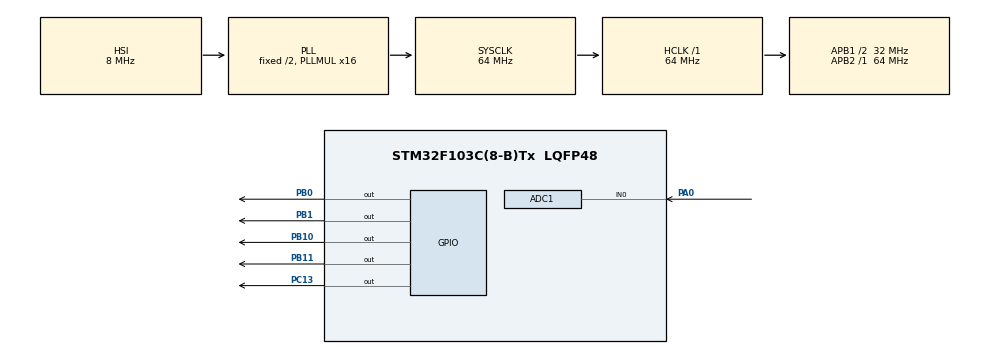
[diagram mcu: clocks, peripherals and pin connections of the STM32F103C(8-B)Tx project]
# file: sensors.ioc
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ADC1.Channel-1\#ChannelRegularConversion=ADC_CHANNEL_0
ADC1.NbrOfConversionFlag=1
ADC1.Rank-1\#ChannelRegularConversion=1
ADC1.SamplingTime-1\#ChannelRegularConversion=ADC_SAMPLETIME_1CYCLE_5
ADC1.master=1
Mcu.Family=STM32F1
Mcu.Name=STM32F103C(8-B)Tx
Mcu.Package=LQFP48
NVIC.PriorityGroup=NVIC_PRIORITYGROUP_4
PA0-WKUP.Signal=ADCx_IN0
PA13.Mode=Trace_Asynchronous_SW
PA13.Signal=SYS_JTMS-SWDIO
PA14.Mode=Trace_Asynchronous_SW
PA14.Signal=SYS_JTCK-SWCLK
PB0.Signal=GPIO_Output
PB1.Signal=GPIO_Output
PB10.Signal=GPIO_Output
PB11.Signal=GPIO_Output
PB3.Mode=Trace_Asynchronous_SW
PB3.Signal=SYS_JTDO-TRACESWO
PC13-TAMPER-RTC.PinState=GPIO_PIN_SET
PC13-TAMPER-RTC.Signal=GPIO_Output
PD0-OSC_IN.Signal=RCC_OSC_IN
PD1-OSC_OUT.Signal=RCC_OSC_OUT
ProjectManager.HeapSize=0x200
ProjectManager.StackSize=0x400
ProjectManager.TargetToolchain=STM32CubeIDE
RCC.ADCPresc=RCC_ADCPCLK2_DIV6
RCC.AHBFreq_Value=64000000
RCC.APB1CLKDivider=RCC_HCLK_DIV2
RCC.APB1Freq_Value=32000000
RCC.APB1TimFreq_Value=64000000
RCC.APB2Freq_Value=64000000
RCC.APB2TimFreq_Value=64000000
RCC.HCLKFreq_Value=64000000
RCC.PLLMUL=RCC_PLL_MUL16
RCC.SYSCLKFreq_VALUE=64000000
RCC.SYSCLKSource=RCC_SYSCLKSOURCE_PLLCLK
RCC.USBFreq_Value=64000000
SH.ADCx_IN0.0=ADC1_IN0,IN0
board=custom

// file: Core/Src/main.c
/* USER CODE BEGIN Header */
/**
  ******************************************************************************
  * @file           : main.c
  * @brief          : Main program body
  ******************************************************************************
  * @attention
  *
  * <h2><center>&copy; Copyright (c) 2021 STMicroelectronics.
  * All rights reserved.</center></h2>
  *
  * This software component is licensed by ST under BSD 3-Clause license,
  * the "License"; You may not use this file except in compliance with the
  * License. You may obtain a copy of the License at:
  *                        opensource.org/licenses/BSD-3-Clause
  *
  ******************************************************************************
  */
/* USER CODE END Header */
#include "main.h"

ADC_HandleTypeDef hadc1;

void SystemClock_Config(void);
static void MX_GPIO_Init(void);
static void MX_ADC1_Init(void);

/* USER CODE BEGIN 0 */
int _write(int32_t file, uint8_t *ptr, int32_t len) {
	/* Implement your write code here, this is used by puts and printf for example */
	int i = 0;
	for(i=0; i < len; i++) {
		ITM_SendChar((*ptr++));
	}
	return len;
}

/* USER CODE END 0 */

int main(void)
{
  /* USER CODE BEGIN 1 */
	uint16_t raw;

  /* USER CODE END 1 */

  /* MCU Configuration--------------------------------------------------------*/

  /* Reset of all peripherals, Initializes the Flash interface and the Systick. */
  HAL_Init();

  /* Configure the system clock */
  SystemClock_Config();

  /* Initialize all configured peripherals */
  MX_GPIO_Init();
  MX_ADC1_Init();

  /* Infinite loop */
  /* USER CODE BEGIN WHILE */
  while (1)
  {
	  // There are two examples. Only uncomment one at a time.
	  // One is inifinite looping through leds
	  // the second one is pot controlled led light up

	  // counting up LEDs
	  /**
	  HAL_GPIO_WritePin(GPIOB, GPIO_PIN_11, GPIO_PIN_SET);
	  HAL_Delay(1000);
	  HAL_GPIO_WritePin(GPIOB, GPIO_PIN_10, GPIO_PIN_SET);
	  HAL_Delay(1000);
	  HAL_GPIO_WritePin(GPIOB, GPIO_PIN_1, GPIO_PIN_SET);
	  HAL_Delay(1000);
	  HAL_GPIO_WritePin(GPIOB, GPIO_PIN_0, GPIO_PIN_SET);
	  HAL_Delay(1000);
	  HAL_GPIO_WritePin(GPIOB, GPIO_PIN_11, GPIO_PIN_RESET);
	  HAL_Delay(1000);
	  HAL_GPIO_WritePin(GPIOB, GPIO_PIN_10, GPIO_PIN_RESET);
	  HAL_Delay(1000);
	  HAL_GPIO_WritePin(GPIOB, GPIO_PIN_1, GPIO_PIN_RESET);
	  HAL_Delay(1000);
	  HAL_GPIO_WritePin(GPIOB, GPIO_PIN_0, GPIO_PIN_RESET);
	  HAL_Delay(1000);

	  **/

	  // analog input to control which LEDs are on
	  // Get ADC value
	 HAL_ADC_Start(&hadc1);
	 HAL_ADC_PollForConversion(&hadc1, HAL_MAX_DELAY);
	 raw = HAL_ADC_GetValue(&hadc1);

	 // control which leds are on depending on raw value
	 if (raw > 1000){
		 HAL_GPIO_WritePin(GPIOB, GPIO_PIN_11, GPIO_PIN_SET);
	 } else{
		 HAL_GPIO_WritePin(GPIOB, GPIO_PIN_11, GPIO_PIN_RESET);
	 }
	 if (raw > 2000){
	 		 HAL_GPIO_WritePin(GPIOB, GPIO_PIN_10, GPIO_PIN_SET);
	 	 } else{
	 		HAL_GPIO_WritePin(GPIOB, GPIO_PIN_10, GPIO_PIN_RESET);
	 	 }
	 if (raw > 3000){
	 		 HAL_GPIO_WritePin(GPIOB, GPIO_PIN_1, GPIO_PIN_SET);
	 	 } else{
	 		HAL_GPIO_WritePin(GPIOB, GPIO_PIN_1, GPIO_PIN_RESET);
	 	 }
	 if (raw > 4000){
	 		 HAL_GPIO_WritePin(GPIOB, GPIO_PIN_0, GPIO_PIN_SET);
	 	 } else{
	 		HAL_GPIO_WritePin(GPIOB, GPIO_PIN_0, GPIO_PIN_RESET);
	 	 }

	// Convert to string and print
	printf("hello world: %hu\r\n", raw);

	 HAL_Delay(10);

    /* USER CODE END WHILE */

  }
}

void SystemClock_Config(void)
{
  RCC_OscInitTypeDef RCC_OscInitStruct = {0};
  RCC_ClkInitTypeDef RCC_ClkInitStruct = {0};
  RCC_PeriphCLKInitTypeDef PeriphClkInit = {0};

  /** Initializes the RCC Oscillators according to the specified parameters
  * in the RCC_OscInitTypeDef structure.
  */
  RCC_OscInitStruct.OscillatorType = RCC_OSCILLATORTYPE_HSI;
  RCC_OscInitStruct.HSIState = RCC_HSI_ON;
  RCC_OscInitStruct.HSICalibrationValue = RCC_HSICALIBRATION_DEFAULT;
  RCC_OscInitStruct.PLL.PLLState = RCC_PLL_ON;
  RCC_OscInitStruct.PLL.PLLSource = RCC_PLLSOURCE_HSI_DIV2;
  RCC_OscInitStruct.PLL.PLLMUL = RCC_PLL_MUL16;
  if (HAL_RCC_OscConfig(&RCC_OscInitStruct) != HAL_OK)
  {
    Error_Handler();
  }
  /** Initializes the CPU, AHB and APB buses clocks
  */
  RCC_ClkInitStruct.ClockType = RCC_CLOCKTYPE_HCLK|RCC_CLOCKTYPE_SYSCLK
                              |RCC_CLOCKTYPE_PCLK1|RCC_CLOCKTYPE_PCLK2;
  RCC_ClkInitStruct.SYSCLKSource = RCC_SYSCLKSOURCE_PLLCLK;
  RCC_ClkInitStruct.AHBCLKDivider = RCC_SYSCLK_DIV1;
  RCC_ClkInitStruct.APB1CLKDivider = RCC_HCLK_DIV2;
  RCC_ClkInitStruct.APB2CLKDivider = RCC_HCLK_DIV1;

  if (HAL_RCC_ClockConfig(&RCC_ClkInitStruct, FLASH_LATENCY_2) != HAL_OK)
  {
    Error_Handler();
  }
  PeriphClkInit.PeriphClockSelection = RCC_PERIPHCLK_ADC;
  PeriphClkInit.AdcClockSelection = RCC_ADCPCLK2_DIV6;
  if (HAL_RCCEx_PeriphCLKConfig(&PeriphClkInit) != HAL_OK)
  {
    Error_Handler();
  }
}

static void MX_ADC1_Init(void)
{

  ADC_ChannelConfTypeDef sConfig = {0};

  /** Common config
  */
  hadc1.Instance = ADC1;
  hadc1.Init.ScanConvMode = ADC_SCAN_DISABLE;
  hadc1.Init.ContinuousConvMode = DISABLE;
  hadc1.Init.DiscontinuousConvMode = DISABLE;
  hadc1.Init.ExternalTrigConv = ADC_SOFTWARE_START;
  hadc1.Init.DataAlign = ADC_DATAALIGN_RIGHT;
  hadc1.Init.NbrOfConversion = 1;
  if (HAL_ADC_Init(&hadc1) != HAL_OK)
  {
    Error_Handler();
  }
  /** Configure Regular Channel
  */
  sConfig.Channel = ADC_CHANNEL_0;
  sConfig.Rank = ADC_REGULAR_RANK_1;
  sConfig.SamplingTime = ADC_SAMPLETIME_1CYCLE_5;
  if (HAL_ADC_ConfigChannel(&hadc1, &sConfig) != HAL_OK)
  {
    Error_Handler();
  }

}

static void MX_GPIO_Init(void)
{
  GPIO_InitTypeDef GPIO_InitStruct = {0};

  /* GPIO Ports Clock Enable */
  __HAL_RCC_GPIOC_CLK_ENABLE();
  __HAL_RCC_GPIOD_CLK_ENABLE();
  __HAL_RCC_GPIOA_CLK_ENABLE();
  __HAL_RCC_GPIOB_CLK_ENABLE();

  /*Configure GPIO pin Output Level */
  HAL_GPIO_WritePin(GPIOC, GPIO_PIN_13, GPIO_PIN_SET);

  /*Configure GPIO pin Output Level */
  HAL_GPIO_WritePin(GPIOB, GPIO_PIN_0|GPIO_PIN_1|GPIO_PIN_10|GPIO_PIN_11, GPIO_PIN_RESET);

  /*Configure GPIO pin : PC13 */
  GPIO_InitStruct.Pin = GPIO_PIN_13;
  GPIO_InitStruct.Mode = GPIO_MODE_OUTPUT_PP;
  GPIO_InitStruct.Pull = GPIO_NOPULL;
  GPIO_InitStruct.Speed = GPIO_SPEED_FREQ_LOW;
  HAL_GPIO_Init(GPIOC, &GPIO_InitStruct);

  /*Configure GPIO pins : PB0 PB1 PB10 PB11 */
  GPIO_InitStruct.Pin = GPIO_PIN_0|GPIO_PIN_1|GPIO_PIN_10|GPIO_PIN_11;
  GPIO_InitStruct.Mode = GPIO_MODE_OUTPUT_PP;
  GPIO_InitStruct.Pull = GPIO_NOPULL;
  GPIO_InitStruct.Speed = GPIO_SPEED_FREQ_LOW;
  HAL_GPIO_Init(GPIOB, &GPIO_InitStruct);

}

void Error_Handler(void)
{
  __disable_irq();
  while (1)
  {
  }
}

/************************ (C) COPYRIGHT STMicroelectronics *****END OF FILE****/
